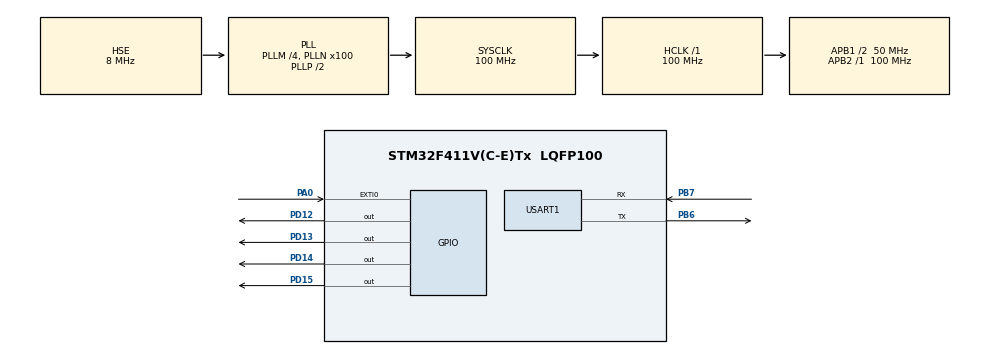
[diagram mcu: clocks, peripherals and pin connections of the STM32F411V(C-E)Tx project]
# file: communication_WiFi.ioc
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Dma.Request0=USART1_TX
Dma.Request1=USART1_RX
Dma.USART1_RX.1.Direction=DMA_PERIPH_TO_MEMORY
Dma.USART1_RX.1.FIFOMode=DMA_FIFOMODE_DISABLE
Dma.USART1_RX.1.Instance=DMA2_Stream2
Dma.USART1_RX.1.MemDataAlignment=DMA_MDATAALIGN_BYTE
Dma.USART1_RX.1.MemInc=DMA_MINC_ENABLE
Dma.USART1_RX.1.Mode=DMA_NORMAL
Dma.USART1_RX.1.PeriphDataAlignment=DMA_PDATAALIGN_BYTE
Dma.USART1_RX.1.PeriphInc=DMA_PINC_DISABLE
Dma.USART1_RX.1.Priority=DMA_PRIORITY_LOW
Dma.USART1_TX.0.Direction=DMA_MEMORY_TO_PERIPH
Dma.USART1_TX.0.FIFOMode=DMA_FIFOMODE_DISABLE
Dma.USART1_TX.0.Instance=DMA2_Stream7
Dma.USART1_TX.0.MemDataAlignment=DMA_MDATAALIGN_BYTE
Dma.USART1_TX.0.MemInc=DMA_MINC_ENABLE
Dma.USART1_TX.0.Mode=DMA_NORMAL
Dma.USART1_TX.0.PeriphDataAlignment=DMA_PDATAALIGN_BYTE
Dma.USART1_TX.0.PeriphInc=DMA_PINC_DISABLE
Dma.USART1_TX.0.Priority=DMA_PRIORITY_LOW
Mcu.Family=STM32F4
Mcu.Name=STM32F411V(C-E)Tx
Mcu.Package=LQFP100
NVIC.DMA2_Stream2_IRQn=true\:0\:0\:false\:false\:true\:false\:true
NVIC.DMA2_Stream7_IRQn=true\:0\:0\:false\:false\:true\:false\:true
NVIC.EXTI0_IRQn=true\:0\:0\:false\:false\:true\:true\:true
NVIC.PriorityGroup=NVIC_PRIORITYGROUP_4
NVIC.USART1_IRQn=true\:0\:0\:false\:false\:true\:true\:true
PA0-WKUP.GPIO_ModeDefaultEXTI=GPIO_MODE_IT_RISING
PA0-WKUP.Signal=GPXTI0
PB6.Mode=Asynchronous
PB6.Signal=USART1_TX
PB7.Mode=Asynchronous
PB7.Signal=USART1_RX
PD12.Signal=GPIO_Output
PD13.Signal=GPIO_Output
PD14.Signal=GPIO_Output
PD15.Signal=GPIO_Output
PH0\ -\ OSC_IN.Mode=HSE-External-Oscillator
PH0\ -\ OSC_IN.Signal=RCC_OSC_IN
PH1\ -\ OSC_OUT.Mode=HSE-External-Oscillator
PH1\ -\ OSC_OUT.Signal=RCC_OSC_OUT
ProjectManager.HeapSize=0x200
ProjectManager.StackSize=0x400
ProjectManager.TargetToolchain=TrueSTUDIO
RCC.48MHZClocksFreq_Value=50000000
RCC.AHBFreq_Value=100000000
RCC.APB1CLKDivider=RCC_HCLK_DIV2
RCC.APB1Freq_Value=50000000
RCC.APB1TimFreq_Value=100000000
RCC.APB2Freq_Value=100000000
RCC.APB2TimFreq_Value=100000000
RCC.CortexFreq_Value=100000000
RCC.HCLKFreq_Value=100000000
RCC.HSE_VALUE=8000000
RCC.HSI_VALUE=16000000
RCC.LSE_VALUE=32768
RCC.PLLM=4
RCC.PLLN=100
RCC.PLLSourceVirtual=RCC_PLLSOURCE_HSE
RCC.SYSCLKFreq_VALUE=100000000
RCC.SYSCLKSource=RCC_SYSCLKSOURCE_PLLCLK
RCC.VCOOutputFreq_Value=200000000
USART1.VirtualMode=VM_ASYNC
board=custom

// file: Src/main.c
/* USER CODE BEGIN Header */
/**
  ******************************************************************************
  * @file           : main.c
  * @brief          : Main program body
  ******************************************************************************
  * @attention
  *
  * <h2><center>&copy; Copyright (c) 2020 STMicroelectronics.
  * All rights reserved.</center></h2>
  *
  * This software component is licensed by ST under BSD 3-Clause license,
  * the "License"; You may not use this file except in compliance with the
  * License. You may obtain a copy of the License at:
  *                        opensource.org/licenses/BSD-3-Clause
  *
  ******************************************************************************
  */
/* USER CODE END Header */

#include "main.h"

/* USER CODE BEGIN Includes */
#include <stdio.h>
/* USER CODE END Includes */

UART_HandleTypeDef huart1;
DMA_HandleTypeDef hdma_usart1_tx;
DMA_HandleTypeDef hdma_usart1_rx;

/* USER CODE BEGIN PV */
uint8_t dane_do_wyslania[40];
uint8_t odebrane[40];
uint8_t transmit_size;
uint8_t zmienna = 1;
uint8_t iteracja = 0;
uint8_t character[1];
/* USER CODE END PV */

void SystemClock_Config(void);
static void MX_GPIO_Init(void);
static void MX_DMA_Init(void);
static void MX_USART1_UART_Init(void);
/* USER CODE BEGIN PFP */
void HAL_UART_RxCpltCallback(UART_HandleTypeDef *huart);
void HAL_GPIO_EXTI_Callback(uint16_t GPIO_Pin);
/* USER CODE END PFP */

int main(void)
{

  /* MCU Configuration--------------------------------------------------------*/

  /* Reset of all peripherals, Initializes the Flash interface and the Systick. */
  HAL_Init();

  /* Configure the system clock */
  SystemClock_Config();

  /* Initialize all configured peripherals */
  MX_GPIO_Init();
  MX_DMA_Init();
  MX_USART1_UART_Init();
  /* USER CODE BEGIN 2 */
  HAL_UART_Receive_DMA(&huart1, character, zmienna);
  /* USER CODE END 2 */

  /* Infinite loop */
  while (1)
  {

  }
}

void SystemClock_Config(void)
{
  RCC_OscInitTypeDef RCC_OscInitStruct = {0};
  RCC_ClkInitTypeDef RCC_ClkInitStruct = {0};

  /** Configure the main internal regulator output voltage
  */
  __HAL_RCC_PWR_CLK_ENABLE();
  __HAL_PWR_VOLTAGESCALING_CONFIG(PWR_REGULATOR_VOLTAGE_SCALE1);
  /** Initializes the CPU, AHB and APB busses clocks
  */
  RCC_OscInitStruct.OscillatorType = RCC_OSCILLATORTYPE_HSE;
  RCC_OscInitStruct.HSEState = RCC_HSE_ON;
  RCC_OscInitStruct.PLL.PLLState = RCC_PLL_ON;
  RCC_OscInitStruct.PLL.PLLSource = RCC_PLLSOURCE_HSE;
  RCC_OscInitStruct.PLL.PLLM = 4;
  RCC_OscInitStruct.PLL.PLLN = 100;
  RCC_OscInitStruct.PLL.PLLP = RCC_PLLP_DIV2;
  RCC_OscInitStruct.PLL.PLLQ = 4;
  if (HAL_RCC_OscConfig(&RCC_OscInitStruct) != HAL_OK)
  {
    Error_Handler();
  }
  /** Initializes the CPU, AHB and APB busses clocks
  */
  RCC_ClkInitStruct.ClockType = RCC_CLOCKTYPE_HCLK|RCC_CLOCKTYPE_SYSCLK
                              |RCC_CLOCKTYPE_PCLK1|RCC_CLOCKTYPE_PCLK2;
  RCC_ClkInitStruct.SYSCLKSource = RCC_SYSCLKSOURCE_PLLCLK;
  RCC_ClkInitStruct.AHBCLKDivider = RCC_SYSCLK_DIV1;
  RCC_ClkInitStruct.APB1CLKDivider = RCC_HCLK_DIV2;
  RCC_ClkInitStruct.APB2CLKDivider = RCC_HCLK_DIV1;

  if (HAL_RCC_ClockConfig(&RCC_ClkInitStruct, FLASH_LATENCY_3) != HAL_OK)
  {
    Error_Handler();
  }
}

static void MX_USART1_UART_Init(void)
{

  huart1.Instance = USART1;
  huart1.Init.BaudRate = 115200;
  huart1.Init.WordLength = UART_WORDLENGTH_8B;
  huart1.Init.StopBits = UART_STOPBITS_1;
  huart1.Init.Parity = UART_PARITY_NONE;
  huart1.Init.Mode = UART_MODE_TX_RX;
  huart1.Init.HwFlowCtl = UART_HWCONTROL_NONE;
  huart1.Init.OverSampling = UART_OVERSAMPLING_16;
  if (HAL_UART_Init(&huart1) != HAL_OK)
  {
    Error_Handler();
  }

}

static void MX_DMA_Init(void)
{
  /* DMA controller clock enable */
  __HAL_RCC_DMA2_CLK_ENABLE();

  /* DMA interrupt init */
  /* DMA2_Stream2_IRQn interrupt configuration */
  HAL_NVIC_SetPriority(DMA2_Stream2_IRQn, 0, 0);
  HAL_NVIC_EnableIRQ(DMA2_Stream2_IRQn);
  /* DMA2_Stream7_IRQn interrupt configuration */
  HAL_NVIC_SetPriority(DMA2_Stream7_IRQn, 0, 0);
  HAL_NVIC_EnableIRQ(DMA2_Stream7_IRQn);

}

static void MX_GPIO_Init(void)
{
  GPIO_InitTypeDef GPIO_InitStruct = {0};

  /* GPIO Ports Clock Enable */
  __HAL_RCC_GPIOH_CLK_ENABLE();
  __HAL_RCC_GPIOA_CLK_ENABLE();
  __HAL_RCC_GPIOD_CLK_ENABLE();
  __HAL_RCC_GPIOB_CLK_ENABLE();

  /*Configure GPIO pin Output Level */
  HAL_GPIO_WritePin(GPIOD, GPIO_PIN_12|GPIO_PIN_13|GPIO_PIN_14|GPIO_PIN_15, GPIO_PIN_RESET);

  /*Configure GPIO pin : PA0 */
  GPIO_InitStruct.Pin = GPIO_PIN_0;
  GPIO_InitStruct.Mode = GPIO_MODE_IT_RISING;
  GPIO_InitStruct.Pull = GPIO_NOPULL;
  HAL_GPIO_Init(GPIOA, &GPIO_InitStruct);

  /*Configure GPIO pins : PD12 PD13 PD14 PD15 */
  GPIO_InitStruct.Pin = GPIO_PIN_12|GPIO_PIN_13|GPIO_PIN_14|GPIO_PIN_15;
  GPIO_InitStruct.Mode = GPIO_MODE_OUTPUT_PP;
  GPIO_InitStruct.Pull = GPIO_NOPULL;
  GPIO_InitStruct.Speed = GPIO_SPEED_FREQ_LOW;
  HAL_GPIO_Init(GPIOD, &GPIO_InitStruct);

  /* EXTI interrupt init*/
  HAL_NVIC_SetPriority(EXTI0_IRQn, 0, 0);
  HAL_NVIC_EnableIRQ(EXTI0_IRQn);

}

/* USER CODE BEGIN 4 */
void HAL_UART_RxCpltCallback(UART_HandleTypeDef *huart){

	HAL_UART_Receive_DMA(&huart1, character, zmienna);
	if((character[0] == '\n' || character[0] == '\r') && iteracja != 0){
		iteracja=0;
	}else{
		odebrane[iteracja++] = character[0];
	}

}
void HAL_GPIO_EXTI_Callback(uint16_t GPIO_Pin){

	transmit_size = sprintf(dane_do_wyslania, "AT\r\n");

	if(GPIO_Pin == GPIO_PIN_0 && HAL_GPIO_ReadPin(GPIOA, GPIO_PIN_0) == GPIO_PIN_SET ){
		HAL_UART_Transmit_DMA(&huart1, dane_do_wyslania, transmit_size );
		HAL_GPIO_TogglePin(GPIOD, GPIO_PIN_13);

	}
	HAL_GPIO_TogglePin(GPIOD, GPIO_PIN_14);
	HAL_GPIO_TogglePin(GPIOD, GPIO_PIN_12);
	HAL_GPIO_TogglePin(GPIOD, GPIO_PIN_15);
}
/* USER CODE END 4 */

void Error_Handler(void)
{
}

/************************ (C) COPYRIGHT STMicroelectronics *****END OF FILE****/
